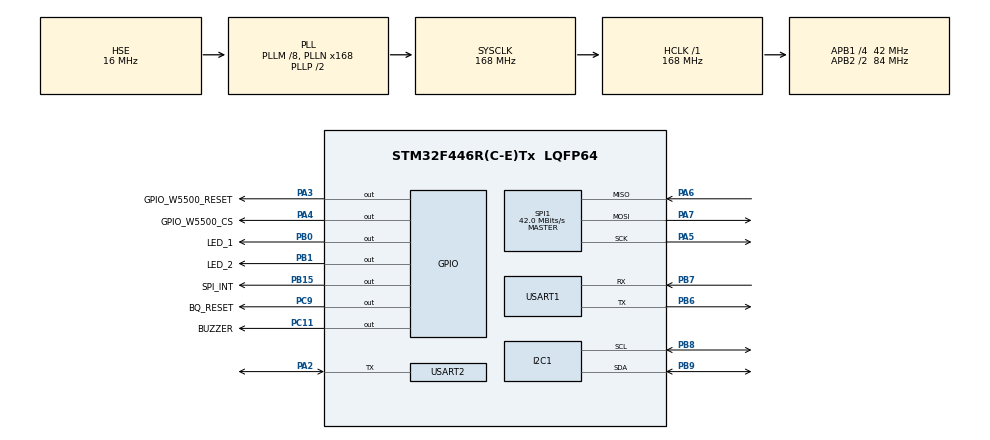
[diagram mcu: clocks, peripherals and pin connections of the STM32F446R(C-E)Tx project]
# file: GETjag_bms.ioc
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Dma.I2C1_RX.0.Direction=DMA_PERIPH_TO_MEMORY
Dma.I2C1_RX.0.FIFOMode=DMA_FIFOMODE_DISABLE
Dma.I2C1_RX.0.Instance=DMA1_Stream0
Dma.I2C1_RX.0.MemDataAlignment=DMA_MDATAALIGN_BYTE
Dma.I2C1_RX.0.MemInc=DMA_MINC_ENABLE
Dma.I2C1_RX.0.Mode=DMA_NORMAL
Dma.I2C1_RX.0.PeriphDataAlignment=DMA_PDATAALIGN_BYTE
Dma.I2C1_RX.0.PeriphInc=DMA_PINC_DISABLE
Dma.I2C1_RX.0.Priority=DMA_PRIORITY_LOW
Dma.I2C1_TX.1.Direction=DMA_MEMORY_TO_PERIPH
Dma.I2C1_TX.1.FIFOMode=DMA_FIFOMODE_DISABLE
Dma.I2C1_TX.1.Instance=DMA1_Stream6
Dma.I2C1_TX.1.MemDataAlignment=DMA_MDATAALIGN_BYTE
Dma.I2C1_TX.1.MemInc=DMA_MINC_ENABLE
Dma.I2C1_TX.1.Mode=DMA_NORMAL
Dma.I2C1_TX.1.PeriphDataAlignment=DMA_PDATAALIGN_BYTE
Dma.I2C1_TX.1.PeriphInc=DMA_PINC_DISABLE
Dma.I2C1_TX.1.Priority=DMA_PRIORITY_LOW
Dma.Request0=I2C1_RX
Dma.Request1=I2C1_TX
Mcu.Family=STM32F4
Mcu.Name=STM32F446R(C-E)Tx
Mcu.Package=LQFP64
NVIC.DMA1_Stream0_IRQn=true\:0\:0\:false\:false\:true\:false\:true\:true
NVIC.DMA1_Stream6_IRQn=true\:0\:0\:false\:false\:true\:false\:true\:true
NVIC.PriorityGroup=NVIC_PRIORITYGROUP_4
NVIC.TIM6_DAC_IRQn=true\:15\:0\:false\:false\:true\:false\:true\:true
NVIC.TimeBase=TIM6_DAC_IRQn
NVIC.TimeBaseIP=TIM6
PA13.Signal=SYS_JTMS-SWDIO
PA14.GPIO_Label=TCK
PA14.Signal=SYS_JTCK-SWCLK
PA2.Mode=Half_duplex(single_wire_mode)
PA2.Signal=USART2_TX
PA3.GPIO_Label=GPIO_W5500_RESET
PA3.Signal=GPIO_Output
PA4.GPIO_Label=GPIO_W5500_CS
PA4.Signal=GPIO_Output
PA5.Mode=Full_Duplex_Master
PA5.Signal=SPI1_SCK
PA6.Mode=Full_Duplex_Master
PA6.Signal=SPI1_MISO
PA7.Mode=Full_Duplex_Master
PA7.Signal=SPI1_MOSI
PB0.GPIO_Label=LED_1
PB0.Signal=GPIO_Output
PB1.GPIO_Label=LED_2
PB1.Signal=GPIO_Output
PB15.GPIO_Label=SPI_INT
PB15.Signal=GPIO_Output
PB6.Mode=Asynchronous
PB6.Signal=USART1_TX
PB7.Mode=Asynchronous
PB7.Signal=USART1_RX
PB8.Mode=I2C
PB8.Signal=I2C1_SCL
PB9.Mode=I2C
PB9.Signal=I2C1_SDA
PC11.GPIO_Label=BUZZER
PC11.GPIO_PuPd=GPIO_NOPULL
PC11.Signal=GPIO_Output
PC9.GPIO_Label=BQ_RESET
PC9.GPIO_PuPd=GPIO_PULLDOWN
PC9.Signal=GPIO_Output
PH0-OSC_IN.Mode=HSE-External-Oscillator
PH0-OSC_IN.Signal=RCC_OSC_IN
PH1-OSC_OUT.Mode=HSE-External-Oscillator
PH1-OSC_OUT.Signal=RCC_OSC_OUT
ProjectManager.HeapSize=0x200
ProjectManager.StackSize=0x400
ProjectManager.TargetToolchain=STM32CubeIDE
RCC.48MHZClocksFreq_Value=84000000
RCC.AHBFreq_Value=168000000
RCC.APB1CLKDivider=RCC_HCLK_DIV4
RCC.APB1Freq_Value=42000000
RCC.APB1TimFreq_Value=84000000
RCC.APB2CLKDivider=RCC_HCLK_DIV2
RCC.APB2Freq_Value=84000000
RCC.APB2TimFreq_Value=168000000
RCC.CortexFreq_Value=168000000
RCC.FLatency-AdvancedSettings=FLASH_LATENCY_5
RCC.HCLKFreq_Value=168000000
RCC.HSE_VALUE=16000000
RCC.HSI_VALUE=16000000
RCC.PLLM=8
RCC.PLLN=168
RCC.PLLSourceVirtual=RCC_PLLSOURCE_HSE
RCC.SYSCLKFreq_VALUE=168000000
RCC.SYSCLKSource=RCC_SYSCLKSOURCE_PLLCLK
RCC.USBFreq_Value=168000000
RCC.VCOOutputFreq_Value=336000000
SPI1.CalculateBaudRate=42.0 MBits/s
SPI1.Direction=SPI_DIRECTION_2LINES
SPI1.Mode=SPI_MODE_MASTER
SPI1.VirtualType=VM_MASTER
USART1.VirtualMode=VM_ASYNC
USART2.VirtualMode=VM_ASYNC
VP_SYS_VS_tim6.Mode=TIM6
VP_TIM10_VS_ClockSourceINT.Mode=Enable_Timer
board=NUCLEO-F446RE

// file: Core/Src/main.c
/* USER CODE BEGIN Header */
/**
 ******************************************************************************
 * @file           : main.c
 * @brief          : Main program body
 ******************************************************************************
 * @attention
 *
 * Copyright (c) 2024 STMicroelectronics.
 * All rights reserved.
 *
 * This software is licensed under terms that can be found in the LICENSE file
 * in the root directory of this software component.
 * If no LICENSE file comes with this software, it is provided AS-IS.
 *
 ******************************************************************************
 */
/* USER CODE END Header */
#include "main.h"

/* USER CODE BEGIN Includes */
// #include "delay.h"
#include "spi.h"
#include "modbus.h"
#include <stdio.h>
#include <stdlib.h>
#include <stdarg.h>
#include <string.h>
#include "socket.h"
#include "wizchip_conf.h"
#include "FreeRTOS.h"
#include "task.h"
#include "BQ769x2Header.h"
#include "utils.h"
#include "bq_common.h"
#include "soc_soh.h"
#include "semphr.h"
#include "stdbool.h"
/* USER CODE END Includes */

/* USER CODE BEGIN PTD */
typedef enum
{
  Bit_RESET = 0,
  Bit_SET
} BitAction;

typedef enum {
    STATE_WAIT_FOR_ETHERNET,
    STATE_INIT_SOCKET,
    STATE_WAIT_FOR_CLIENT,
    STATE_COMMUNICATE_WITH_CLIENT
} modbus_state_t;

/* USER CODE END PTD */

/* USER CODE BEGIN PD */
/* USER CODE BEGIN PD */

// #define PORT_TCPS 5000
#define DATA_BUF_SIZE 2048
uint8_t gDATABUF[DATA_BUF_SIZE];
#define SEPARATOR "=============================================\r\n"
#define WELCOME_MSG "Welcome to STM32Nucleo Ethernet configuration\r\n"
#define NETWORK_MSG "Network configuration:\r\n"
#define IP_MSG "  IP ADDRESS:  %d.%d.%d.%d\r\n"
#define NETMASK_MSG "  NETMASK:     %d.%d.%d.%d\r\n"
#define GW_MSG "  GATEWAY:     %d.%d.%d.%d\r\n"
#define MAC_MSG "  MAC ADDRESS: %x:%x:%x:%x:%x:%x\r\n"
#define GREETING_MSG "Well done guys! Welcome to the IoT world. Bye!\r\n"
#define CONN_ESTABLISHED_MSG "Connection established with remote IP: %d.%d.%d.%d:%d\r\n"
#define SENT_MESSAGE_MSG "Sent a message. Let's close the socket!\r\n"
#define WRONG_RETVAL_MSG "Something went wrong; return value: %d\r\n"
#define WRONG_STATUS_MSG "Something went wrong; STATUS: %d\r\n"
#define LISTEN_ERR_MSG "LISTEN Error!\r\n"

#define PRINT_STR(msg)                                            \
  do                                                              \
  {                                                               \
    HAL_UART_Transmit(&huart2, (uint8_t *)msg, strlen(msg), 100); \
  } while (0)

#define PRINT_HEADER()                                                            \
  do                                                                              \
  {                                                                               \
    HAL_UART_Transmit(&huart2, (uint8_t *)SEPARATOR, strlen(SEPARATOR), 100);     \
    HAL_UART_Transmit(&huart2, (uint8_t *)WELCOME_MSG, strlen(WELCOME_MSG), 100); \
    HAL_UART_Transmit(&huart2, (uint8_t *)SEPARATOR, strlen(SEPARATOR), 100);     \
  } while (0)

#define PRINT_NETINFO(netInfo)                                                                                             \
  do                                                                                                                       \
  {                                                                                                                        \
    HAL_UART_Transmit(&huart2, (uint8_t *)NETWORK_MSG, strlen(NETWORK_MSG), 100);                                          \
    sprintf(msg, MAC_MSG, netInfo.mac[0], netInfo.mac[1], netInfo.mac[2], netInfo.mac[3], netInfo.mac[4], netInfo.mac[5]); \
    HAL_UART_Transmit(&huart2, (uint8_t *)msg, strlen(msg), 100);                                                          \
    sprintf(msg, IP_MSG, netInfo.ip[0], netInfo.ip[1], netInfo.ip[2], netInfo.ip[3]);                                      \
    HAL_UART_Transmit(&huart2, (uint8_t *)msg, strlen(msg), 100);                                                          \
    sprintf(msg, NETMASK_MSG, netInfo.sn[0], netInfo.sn[1], netInfo.sn[2], netInfo.sn[3]);                                 \
    HAL_UART_Transmit(&huart2, (uint8_t *)msg, strlen(msg), 100);                                                          \
    sprintf(msg, GW_MSG, netInfo.gw[0], netInfo.gw[1], netInfo.gw[2], netInfo.gw[3]);                                      \
    HAL_UART_Transmit(&huart2, (uint8_t *)msg, strlen(msg), 100);                                                          \
  } while (0)

char msg[60];

#define LISTEN_PORT 502
#define RECEIVE_BUFF_SIZE 128

#define EEPROM_I2C_ADDRESS 0xA0
#define EEPROM_MEM_ADDRESS_SIZE I2C_MEMADD_SIZE_16BIT

// Enable cycle count for STM32
#define DWT_CTRL (*(volatile uint32_t *)0xE0001000)

/* USER CODE END PD */

I2C_HandleTypeDef hi2c1;
DMA_HandleTypeDef hdma_i2c1_rx;
DMA_HandleTypeDef hdma_i2c1_tx;

SPI_HandleTypeDef hspi1;

TIM_HandleTypeDef htim10;

UART_HandleTypeDef huart1;
UART_HandleTypeDef huart2;

/* USER CODE BEGIN PV */
int16_t statusClient;
uint8_t statusSlave;
uint8_t tcp_error = 0;
uint8_t rtu_error = 0;
uint8_t TX_buffer[128];
uint8_t send_size;
uint8_t RX_buffer[128];
uint8_t recv_size;
uint16_t cntSend = 0;

uint8_t FrameNrBytes = 0;
bool soc_ready = false;

bms_context bms1;
CellSelectRegister selected_cells = {.value = 0x801F}; // Assuming 6 cells are selected
//CellSelectRegister selected_cells = {.value = 0xFFFF};
Soc_coulomb_counting soc_coulomb_count_init;

// Set I.P address of slave

wiz_NetInfo gWIZNETINFO = {
    .mac = {0x00, 0x08, 0xdc, 0xab, 0xcd, 0xef},
    .ip = {192, 168, 137, 14},
    .sn = {255, 255, 255, 0},
    .gw = {192, 168, 3, 1},
    .dns = {8, 8, 8, 8},
    .dhcp = NETINFO_STATIC};
uint8_t RX_buffer[RX_buffer_length];

uint16_t holding_register[64] = {
    0x00, 0x00, 0x00, 0x00, 0x00, 0x00, 0x00, 0x00,
    0x00, 0x00, 0x00, 0x00, 0x00, 0x00, 0x00, 0x00,
    0x00, 0x00, 0x00, 0x00, 0x00, 0x00, 0x00, 0x00,
    0x00, 0x00, 0x00, 0x00, 0x00, 0x00, 0x00, 0x00,
    0x00, 0x00, 0x00, 0x00, 0x00, 0x00, 0x00, 0x00,
    0x00, 0x00, 0x00, 0x00, 0x00, 0x00, 0x00, 0x00,
    0x00, 0x00, 0x00, 0x00, 0x00, 0x00, 0x00, 0x00,
    0x00, 0x00, 0x00, 0x00, 0x00, 0x00, 0x00, 0x00};

float ocv_simple[11] = {4.16, 4.07, 3.99, 3.90, 3.82, 3.72, 3.61, 3.53, 3.38, 3.20, 2.85};
float soc_simple[11] = {100.0, 90.0, 80.0, 70.0, 60.0, 50.0, 40.0, 30.0, 20.0, 10.0, 0.0};

TaskHandle_t modbus_task_handle = NULL;
TaskHandle_t soc_task_handle = NULL;
TaskHandle_t read_voltage_task_handle = NULL;
TaskHandle_t bms_state_machine_handle = NULL;
BaseType_t status;

uint8_t sr = 0x00;

SemaphoreHandle_t data_ready_semaphore;
SemaphoreHandle_t soc_ready_semaphore;

/* USER CODE END PV */

void SystemClock_Config(void);
static void MX_GPIO_Init(void);
static void MX_DMA_Init(void);
static void MX_USART1_UART_Init(void);
static void MX_SPI1_Init(void);
static void MX_USART2_UART_Init(void);
static void MX_I2C1_Init(void);
static void MX_TIM10_Init(void);
/* USER CODE BEGIN PFP */

void wizchip_select(void);
void wizchip_deselect(void);
void wizchip_write(uint8_t wb);
uint8_t wizchip_read();

// Initialize Network information and display it
void network_init(void);
ErrorState PHYStatusCheck(void);
void PrintPHYConf(void);
void DelayIncCnt(void);

static void modbus_comm_task(void *parameters);
static void soc_task(void *parameters);
static void read_voltage_task(void *parameters);
static void bms_state_machine_task(void *parameters);

void delayUS(uint32_t us)
{                                    // Sets the delay in microseconds.
  __HAL_TIM_SET_COUNTER(&htim10, 0); // set the counter value a 0
  while (__HAL_TIM_GET_COUNTER(&htim10) < us)
    ; // wait for the counter to reach the us input in the parameter
}

/* USER CODE END PFP */

int main(void)
{

  /* USER CODE BEGIN 1 */
  uint8_t memsize[2][8] = {{2, 2, 2, 2, 2, 2, 2, 2}, {2, 2, 2, 2, 2, 2, 2, 2}};

  /* USER CODE END 1 */

  /* MCU Configuration--------------------------------------------------------*/

  /* Reset of all peripherals, Initializes the Flash interface and the Systick. */
  HAL_Init();

  /* Configure the system clock */
  SystemClock_Config();

  /* Initialize all configured peripherals */
  MX_GPIO_Init();
  MX_DMA_Init();
  MX_USART1_UART_Init();
  MX_SPI1_Init();
  MX_USART2_UART_Init();
  MX_I2C1_Init();
  MX_TIM10_Init();
  /* USER CODE BEGIN 2 */

  // Enable cycle count for STM32

  DWT_CTRL |= (1 << 0);
  SEGGER_SYSVIEW_Conf();
  SEGGER_SYSVIEW_Start();

  // Reset wiznet module
  HAL_GPIO_WritePin(GPIO_W5500_RESET_GPIO_Port, GPIO_W5500_RESET_Pin, GPIO_PIN_RESET);
  HAL_Delay(100);
  HAL_GPIO_WritePin(GPIO_W5500_RESET_GPIO_Port, GPIO_W5500_RESET_Pin, GPIO_PIN_SET);
  HAL_Delay(1000);

  /* SPI Read & Write callback function */
  reg_wizchip_cs_cbfunc(wizchip_select, wizchip_deselect);
  reg_wizchip_spi_cbfunc(wizchip_read, wizchip_write);

  ////////////////////////////////////////////////////////////////////////
  /* WIZCHIP SOCKET Buffer initialize */
  if (ctlwizchip(CW_INIT_WIZCHIP, (void *)memsize) == -1)
  {

    while (1)
      ;
  }

  /* Network initialization */
  network_init();
  wizchip_setnetinfo(&gWIZNETINFO);
  // PRINT_NETINFO(gWIZNETINFO);

  ctlnetwork(CN_SET_NETINFO, (void *)&gWIZNETINFO);

  // Configure PHY by software for maximum compatibility
  // so that user can use any model w5500 board
  // else the PINs on the board configure it, which may
  // lead to different configurations in different boards.
  wiz_PhyConf phyconf;

  phyconf.by = PHY_CONFBY_SW;
  phyconf.duplex = PHY_DUPLEX_FULL;
  phyconf.speed = PHY_SPEED_10;     // 10MBps Ethernet link speed
  phyconf.mode = PHY_MODE_AUTONEGO; // best to go with auto-negotiation

  ctlwizchip(CW_SET_PHYCONF, (void *)&phyconf); // PHY Configuration Command
  //*** End Phy Configuration
  // Init Timer
  HAL_TIM_Base_Start(&htim10);
  delayUS(10000);

  // init bms

  bms1.battery_full = 1;
  bms1.charge_enable = 1;
  bms1.discharge_enable = 1;

  // BQ hard and soft reset
  HAL_GPIO_WritePin(BQ_RESET_GPIO_Port, BQ_RESET_Pin, GPIO_PIN_SET);
  HAL_Delay(10);
  HAL_GPIO_WritePin(BQ_RESET_GPIO_Port, BQ_RESET_Pin, GPIO_PIN_RESET);
  HAL_Delay(2000);
  CommandSubcommands(BQ769x2_RESET); // Resets the BQ769x2 registers
  HAL_Delay(1200);
  BQ769x2_Init(); // Configure all of the BQ769x2 register settings
  delayUS(10000);
  CommandSubcommands(SLEEP_DISABLE); // Sleep mode is enabled by default. For this example, Sleep is disabled to
                                     // demonstrate full-speed measurements in Normal mode.

  delayUS(60000);
  delayUS(60000);
  delayUS(60000);
  delayUS(60000);

  uint16_t manuStatus = BQ769x2_ReadRegister(MANUFACTURINGSTATUS);
  uint16_t manuInit = BQ769x2_ReadRegister(MfgStatusInit);
  uint16_t manuData = BQ769x2_ReadRegister(MANU_DATA);
  uint16_t FET_options = BQ769x2_ReadRegister(FETOptions);

  AlarmBits = BQ769x2_ReadAlarmStatus();
  // CommandSubcommands(RESET_PASSQ);
  //CommandSubcommands(ALL_FETS_ON);
  data_ready_semaphore = xSemaphoreCreateBinary();
  data_ready_semaphore = xSemaphoreCreateBinary();

  status = xTaskCreate(modbus_comm_task, "modbus_comm_task", 200, NULL, 2, &modbus_task_handle);
  configASSERT(status == pdPASS);

  status = xTaskCreate(soc_task, "soc_handle", 200, NULL, 3, &soc_task_handle);
  configASSERT(status == pdPASS);

  status = xTaskCreate(read_voltage_task, "read_voltage_task", 200, NULL, 2, &read_voltage_task_handle);
  configASSERT(status == pdPASS);

  status = xTaskCreate(bms_state_machine_task, "bms_state machine_task", 200, (void *)&bms1, 3, &bms_state_machine_handle);
  configASSERT(status == pdPASS);

  vTaskStartScheduler();

  /* USER CODE END 2 */

  /* Infinite loop */
  while (1)
  {

  }
}

void SystemClock_Config(void)
{
  RCC_OscInitTypeDef RCC_OscInitStruct = {0};
  RCC_ClkInitTypeDef RCC_ClkInitStruct = {0};

  /** Configure the main internal regulator output voltage
  */
  __HAL_RCC_PWR_CLK_ENABLE();
  __HAL_PWR_VOLTAGESCALING_CONFIG(PWR_REGULATOR_VOLTAGE_SCALE1);

  /** Initializes the RCC Oscillators according to the specified parameters
  * in the RCC_OscInitTypeDef structure.
  */
  RCC_OscInitStruct.OscillatorType = RCC_OSCILLATORTYPE_HSE;
  RCC_OscInitStruct.HSEState = RCC_HSE_ON;
  RCC_OscInitStruct.PLL.PLLState = RCC_PLL_ON;
  RCC_OscInitStruct.PLL.PLLSource = RCC_PLLSOURCE_HSE;
  RCC_OscInitStruct.PLL.PLLM = 8;
  RCC_OscInitStruct.PLL.PLLN = 168;
  RCC_OscInitStruct.PLL.PLLP = RCC_PLLP_DIV2;
  RCC_OscInitStruct.PLL.PLLQ = 2;
  RCC_OscInitStruct.PLL.PLLR = 2;
  if (HAL_RCC_OscConfig(&RCC_OscInitStruct) != HAL_OK)
  {
    Error_Handler();
  }

  /** Initializes the CPU, AHB and APB buses clocks
  */
  RCC_ClkInitStruct.ClockType = RCC_CLOCKTYPE_HCLK|RCC_CLOCKTYPE_SYSCLK
                              |RCC_CLOCKTYPE_PCLK1|RCC_CLOCKTYPE_PCLK2;
  RCC_ClkInitStruct.SYSCLKSource = RCC_SYSCLKSOURCE_PLLCLK;
  RCC_ClkInitStruct.AHBCLKDivider = RCC_SYSCLK_DIV1;
  RCC_ClkInitStruct.APB1CLKDivider = RCC_HCLK_DIV4;
  RCC_ClkInitStruct.APB2CLKDivider = RCC_HCLK_DIV2;

  if (HAL_RCC_ClockConfig(&RCC_ClkInitStruct, FLASH_LATENCY_5) != HAL_OK)
  {
    Error_Handler();
  }
}

static void MX_I2C1_Init(void)
{

  hi2c1.Instance = I2C1;
  hi2c1.Init.ClockSpeed = 100000;
  hi2c1.Init.DutyCycle = I2C_DUTYCYCLE_2;
  hi2c1.Init.OwnAddress1 = 0;
  hi2c1.Init.AddressingMode = I2C_ADDRESSINGMODE_7BIT;
  hi2c1.Init.DualAddressMode = I2C_DUALADDRESS_DISABLE;
  hi2c1.Init.OwnAddress2 = 0;
  hi2c1.Init.GeneralCallMode = I2C_GENERALCALL_DISABLE;
  hi2c1.Init.NoStretchMode = I2C_NOSTRETCH_DISABLE;
  if (HAL_I2C_Init(&hi2c1) != HAL_OK)
  {
    Error_Handler();
  }

}

static void MX_SPI1_Init(void)
{

  /* SPI1 parameter configuration*/
  hspi1.Instance = SPI1;
  hspi1.Init.Mode = SPI_MODE_MASTER;
  hspi1.Init.Direction = SPI_DIRECTION_2LINES;
  hspi1.Init.DataSize = SPI_DATASIZE_8BIT;
  hspi1.Init.CLKPolarity = SPI_POLARITY_LOW;
  hspi1.Init.CLKPhase = SPI_PHASE_1EDGE;
  hspi1.Init.NSS = SPI_NSS_SOFT;
  hspi1.Init.BaudRatePrescaler = SPI_BAUDRATEPRESCALER_2;
  hspi1.Init.FirstBit = SPI_FIRSTBIT_MSB;
  hspi1.Init.TIMode = SPI_TIMODE_DISABLE;
  hspi1.Init.CRCCalculation = SPI_CRCCALCULATION_DISABLE;
  hspi1.Init.CRCPolynomial = 10;
  if (HAL_SPI_Init(&hspi1) != HAL_OK)
  {
    Error_Handler();
  }

}

static void MX_TIM10_Init(void)
{

  htim10.Instance = TIM10;
  htim10.Init.Prescaler = 0;
  htim10.Init.CounterMode = TIM_COUNTERMODE_UP;
  htim10.Init.Period = 65535;
  htim10.Init.ClockDivision = TIM_CLOCKDIVISION_DIV1;
  htim10.Init.AutoReloadPreload = TIM_AUTORELOAD_PRELOAD_DISABLE;
  if (HAL_TIM_Base_Init(&htim10) != HAL_OK)
  {
    Error_Handler();
  }

}

static void MX_USART1_UART_Init(void)
{

  huart1.Instance = USART1;
  huart1.Init.BaudRate = 115200;
  huart1.Init.WordLength = UART_WORDLENGTH_8B;
  huart1.Init.StopBits = UART_STOPBITS_1;
  huart1.Init.Parity = UART_PARITY_NONE;
  huart1.Init.Mode = UART_MODE_TX_RX;
  huart1.Init.HwFlowCtl = UART_HWCONTROL_NONE;
  huart1.Init.OverSampling = UART_OVERSAMPLING_16;
  if (HAL_UART_Init(&huart1) != HAL_OK)
  {
    Error_Handler();
  }

}

static void MX_USART2_UART_Init(void)
{

  huart2.Instance = USART2;
  huart2.Init.BaudRate = 115200;
  huart2.Init.WordLength = UART_WORDLENGTH_8B;
  huart2.Init.StopBits = UART_STOPBITS_1;
  huart2.Init.Parity = UART_PARITY_NONE;
  huart2.Init.Mode = UART_MODE_TX_RX;
  huart2.Init.HwFlowCtl = UART_HWCONTROL_NONE;
  huart2.Init.OverSampling = UART_OVERSAMPLING_16;
  if (HAL_HalfDuplex_Init(&huart2) != HAL_OK)
  {
    Error_Handler();
  }

}

static void MX_DMA_Init(void)
{

  /* DMA controller clock enable */
  __HAL_RCC_DMA1_CLK_ENABLE();

  /* DMA interrupt init */
  /* DMA1_Stream0_IRQn interrupt configuration */
  HAL_NVIC_SetPriority(DMA1_Stream0_IRQn, 0, 0);
  HAL_NVIC_EnableIRQ(DMA1_Stream0_IRQn);
  /* DMA1_Stream6_IRQn interrupt configuration */
  HAL_NVIC_SetPriority(DMA1_Stream6_IRQn, 0, 0);
  HAL_NVIC_EnableIRQ(DMA1_Stream6_IRQn);

}

static void MX_GPIO_Init(void)
{
  GPIO_InitTypeDef GPIO_InitStruct = {0};

  /* GPIO Ports Clock Enable */
  __HAL_RCC_GPIOH_CLK_ENABLE();
  __HAL_RCC_GPIOA_CLK_ENABLE();
  __HAL_RCC_GPIOB_CLK_ENABLE();
  __HAL_RCC_GPIOC_CLK_ENABLE();

  /*Configure GPIO pin Output Level */
  HAL_GPIO_WritePin(GPIOA, GPIO_W5500_RESET_Pin|GPIO_W5500_CS_Pin, GPIO_PIN_RESET);

  /*Configure GPIO pin Output Level */
  HAL_GPIO_WritePin(GPIOB, LED_1_Pin|LED_2_Pin|SPI_INT_Pin, GPIO_PIN_RESET);

  /*Configure GPIO pin Output Level */
  HAL_GPIO_WritePin(GPIOC, BQ_RESET_Pin|BUZZER_Pin, GPIO_PIN_RESET);

  /*Configure GPIO pins : GPIO_W5500_RESET_Pin GPIO_W5500_CS_Pin */
  GPIO_InitStruct.Pin = GPIO_W5500_RESET_Pin|GPIO_W5500_CS_Pin;
  GPIO_InitStruct.Mode = GPIO_MODE_OUTPUT_PP;
  GPIO_InitStruct.Pull = GPIO_NOPULL;
  GPIO_InitStruct.Speed = GPIO_SPEED_FREQ_LOW;
  HAL_GPIO_Init(GPIOA, &GPIO_InitStruct);

  /*Configure GPIO pins : LED_1_Pin LED_2_Pin SPI_INT_Pin */
  GPIO_InitStruct.Pin = LED_1_Pin|LED_2_Pin|SPI_INT_Pin;
  GPIO_InitStruct.Mode = GPIO_MODE_OUTPUT_PP;
  GPIO_InitStruct.Pull = GPIO_NOPULL;
  GPIO_InitStruct.Speed = GPIO_SPEED_FREQ_LOW;
  HAL_GPIO_Init(GPIOB, &GPIO_InitStruct);

  /*Configure GPIO pin : BQ_RESET_Pin */
  GPIO_InitStruct.Pin = BQ_RESET_Pin;
  GPIO_InitStruct.Mode = GPIO_MODE_OUTPUT_PP;
  GPIO_InitStruct.Pull = GPIO_PULLDOWN;
  GPIO_InitStruct.Speed = GPIO_SPEED_FREQ_LOW;
  HAL_GPIO_Init(BQ_RESET_GPIO_Port, &GPIO_InitStruct);

  /*Configure GPIO pin : BUZZER_Pin */
  GPIO_InitStruct.Pin = BUZZER_Pin;
  GPIO_InitStruct.Mode = GPIO_MODE_OUTPUT_PP;
  GPIO_InitStruct.Pull = GPIO_NOPULL;
  GPIO_InitStruct.Speed = GPIO_SPEED_FREQ_LOW;
  HAL_GPIO_Init(BUZZER_GPIO_Port, &GPIO_InitStruct);

}

/* USER CODE BEGIN 4 */

void modbus_comm_task(void *parameters)
{
  bool start_modbus = false;

  PRINT_STR("MODBUS WHILE LOOP\r\n");

  // Keep checking for Ethernet connection before starting Modbus communication
  while (!start_modbus)
  {
    if (PHYStatusCheck() == Ethernet_OK)
    {
      PrintPHYConf();      // Print Ethernet PHY configuration
      start_modbus = true; // Set flag to true to start Modbus communication
    }
    else
    {
      // Wait for a short time before checking again to prevent busy-waiting
      printf("Waiting for Ethernet connection...\r\n");
      vTaskDelay(pdMS_TO_TICKS(1000)); // Delay 1 second before rechecking
    }
  }

  // Now start Modbus communication since Ethernet is connected
  while (start_modbus)
  {
    HAL_GPIO_TogglePin(LED_1_GPIO_Port, LED_1_Pin);
    printf("\r\nInitializing server socket\r\n");
    vTaskDelay(pdMS_TO_TICKS(500));

    // Parameters in order: socket_id, protocol TCP or UDP, Port number, Flags=0
    // Return value is socket ID on success
    if (socket(1, Sn_MR_TCP, LISTEN_PORT, 0) != 1)
    {
      // Error
      printf("Cannot create Socket!\r\n");
      vTaskDelay(pdMS_TO_TICKS(500)); // Delay before retrying
      continue;                       // Retry initialization
    }

    // Success
    printf("Socket Created Successfully!\r\n");

    uint8_t socket_io_mode = SOCK_IO_BLOCK;
    ctlsocket(1, CS_SET_IOMODE, &socket_io_mode); // Set blocking IO mode

    printf("Start listening on port %d!\r\n", LISTEN_PORT);
    printf("Waiting for a client connection.\r\n");

    // Make it a passive socket (i.e., listen for connection)
    if (listen(1) != SOCK_OK) // Our socket ID is 1 (W5500 has 8 sockets from 0-7)
    {
      // Error
      printf("Cannot listen on port %d", LISTEN_PORT);
      vTaskDelay(pdMS_TO_TICKS(1000)); // Delay before retrying
      continue;                        // Retry initialization
    }

    uint8_t sr = 0x00;                                               // Socket status register
    TickType_t xTimeOut = xTaskGetTickCount() + pdMS_TO_TICKS(5000); // 5-second timeout

    // Wait for a client connection with timeout
    do
    {
      sr = getSn_SR(1);               // Read status reg (SR of socket 1)
      vTaskDelay(pdMS_TO_TICKS(100)); // Allow other tasks to run
    } while (sr != 0x17 && sr != 0x00 && xTaskGetTickCount() < xTimeOut);

    if (sr == 0x00)
    {
      printf("Some error occurred on server socket. Retrying...\r\n");
      vTaskDelay(pdMS_TO_TICKS(1000)); // Delay before retrying
      continue;                        // Retry initialization
    }

    if (sr == 0x17)
    {
      // We come here only when a client has connected.
      // Now we can read data from the socket
      printf("A client connected!\r\n");
      printf("Waiting for Client Data...!\r\n");

      while (1)
      {
        int len = recv(1, RX_buffer, RX_buffer_length);
        if (len == SOCKERR_SOCKSTATUS)
        {
          // Client has disconnected
          printf("Client has disconnected\r\n");
          printf("*** SESSION OVER ***\r\n\r\n");
          break; // Exit client communication loop
        }

        RX_buffer[len] = '\0';
        printf("Received %d bytes from client\r\n", len);
        printf("Data Received: %s", RX_buffer);

        memset(TX_buffer, 0, sizeof(TX_buffer));

        if (xSemaphoreTake(data_ready_semaphore, portMAX_DELAY) == pdTRUE)
        {
        	modbus_receive(RX_buffer, TX_buffer, len, holding_register);
        }

        vTaskDelay(pdMS_TO_TICKS(500));

        printf("\r\nECHO sent back to client\r\n");

        // Look for quit message and quit if received
        if (strcmp((char *)RX_buffer, "QUIT") == 0)
        {
          printf("Received QUIT command from client\r\n");
          printf("Disconnecting...\r\n");
          printf("*** SESSION OVER ***\r\n\r\n");
          disconnect(1); // Disconnect from the client
          break;         // Exit client communication loop
        }

        vTaskDelay(pdMS_TO_TICKS(500)); // Allow other tasks to run
      } // While loop (as long as client is connected)
    } // If block, client connect success
  } // Outer while loop
}

static void soc_task(void *parameters)
{
	bool start_soc = false;
	if (xSemaphoreTake(data_ready_semaphore, portMAX_DELAY) == pdTRUE)
	{
		BQ769x2_ReadAllVoltages(&bms1);
		get_initial_soc();
		CommandSubcommands(RESET_PASSQ);
		start_soc = true;
	}

  while (start_soc)
  {
	soc_ready = false;
    PRINT_STR("TASK2 WHILE LOOP\r\n");
    uint16_t soc = soc_k_update_get(coulumbs);
    holding_register[21] = soc;
    holding_register[22] = coulumbs;
    BQ769x2_ReadPassQ();
    //xSemaphoreGive(soc_ready_semaphore);
    HAL_GPIO_TogglePin(LED_2_GPIO_Port, LED_2_Pin);
    vTaskDelay(pdMS_TO_TICKS(100));
    // HAL_Delay(500);

    // taskYIELD();
  }
}

static void bms_state_machine_task(void *parameters)

{
  bms_context *bms = (bms_context *)parameters;
  bms->bms_state = BMS_STATE_OFF;
  while (1)
  {
    bms_state_machine(&bms1);
    uint16_t current = BQ769x2_ReadCurrent();
    vTaskDelay(pdMS_TO_TICKS(100));
    // taskYIELD();
  }
}

static void read_voltage_task(void *parameters)
{

	uint16_t counter = 0;
  while (1)
  {

    BQ769x2_ReadAllVoltages(&bms1);
    uint16_t stackVoltage = BQ769x2_ReadVoltage(StackVoltage, &bms1);
    //    holding_register[0] = CellVoltage[0];
    //    holding_register[1] = CellVoltage[1];
    // HAL_Delay(5000);
    // uint16_t alarm;
    // alarm = BQ769x2_ReadAlarmStatus();
    AlarmBits = BQ769x2_ReadAlarmStatus();
        if (AlarmBits & 0x80)
        { // Check if FULLSCAN is complete. If set, new measurements are available
          counter += 1;
        	BQ769x2_ReadAllVoltages(&bms1);
          // float coulombs = BQ769x2_ReadPassQ();
          Pack_Current = BQ769x2_ReadCurrent();
          Temperature[0] = BQ769x2_ReadTemperature(TS1Temperature);
          Temperature[1] = BQ769x2_ReadTemperature(TS3Temperature);

          holding_register[0] = voltage_to_percentage(CellVoltage[0]);
          holding_register[1] = voltage_to_percentage(CellVoltage[1]);
          holding_register[2] = voltage_to_percentage(CellVoltage[2]);
          holding_register[3] = voltage_to_percentage(CellVoltage[3]);
          holding_register[4] = voltage_to_percentage(CellVoltage[4]);
          holding_register[5] = voltage_to_percentage(CellVoltage[5]);
          holding_register[6] = voltage_to_percentage(CellVoltage[6]);
          holding_register[7] = voltage_to_percentage(CellVoltage[7]);
          holding_register[8] = voltage_to_percentage(CellVoltage[15]);

          holding_register[9] = (CellVoltage[0]);
          holding_register[10] = (CellVoltage[1]);
          holding_register[11] = (CellVoltage[2]);
          holding_register[12] = (CellVoltage[3]);
          holding_register[13] = (CellVoltage[4]);
          holding_register[14] = (CellVoltage[5]);
          holding_register[15] = (CellVoltage[6]);
          holding_register[16] = (CellVoltage[7]);
          holding_register[17] = (CellVoltage[15]);

          holding_register[18] = stackVoltage;
          holding_register[19] = BQ769x2_ReadCurrent();
          uint16_t current = BQ769x2_ReadCurrent();
          holding_register[20] = BQ769x2_ReadVoltage(PACKPinVoltage, &bms1);

          DirectCommands(AlarmStatus, 0x0080, W); // Clear the FULLSCAN bit
                                                  //	  			HAL_GPIO_TogglePin(LED_2_GPIO_Port, LED_2_Pin);

          //	  				  HAL_Delay(100);

          if(counter > 2){
        	  xSemaphoreGive(data_ready_semaphore);
          }

        }
    vTaskDelay(pdMS_TO_TICKS(1000));
  }
}
void HAL_SYSTICK_Callback()
{
  DelayIncCnt();
}

uint8_t W5500_rxtx(uint8_t data)
{
  uint8_t rxdata;

  HAL_SPI_TransmitReceive(&hspi1, &data, &rxdata, 1, 50);

  return (rxdata);
}

void wizchip_select(void)
{
  W5500_select();
}

void wizchip_deselect(void)
{
  W5500_release();
}

void wizchip_write(uint8_t wb)
{
  W5500_tx(wb);
}

uint8_t wizchip_read()
{
  return W5500_rx();
}

//////////////////////////////////////////////////////////////////////////

/////////////////////////////////////////////////////////////
// Intialize the network information to be used in WIZCHIP //
/////////////////////////////////////////////////////////////
void network_init(void)
{
  uint8_t tmpstr[6];

  ctlnetwork(CN_SET_NETINFO, (void *)&gWIZNETINFO);

  ctlwizchip(CW_GET_ID, (void *)tmpstr);
}

void UWriteData(const char data)
{
  while (__HAL_UART_GET_FLAG(&huart1, UART_FLAG_TXE) == RESET)
    ;

  huart1.Instance->DR = data;
}

int __io_putchar(int ch)
{
  UWriteData(ch);
  return ch;
}

ErrorState PHYStatusCheck(void)
{
  uint8_t tmp;

  do
  {
    printf("\r\nChecking Ethernet Cable Presence ...");
    ctlwizchip(CW_GET_PHYLINK, (void *)&tmp);

    if (tmp == PHY_LINK_OFF)
    {
      printf("NO Cable Connected!");

      HAL_GPIO_WritePin(LED_2_GPIO_Port, LED_2_Pin, 1);
      HAL_Delay(500);
      // HAL_GPIO_TogglePin(BUZZER_GPIO_Port, BUZZER_Pin);
      // HAL_Delay(200);
    }
  } while (tmp == PHY_LINK_OFF);

  printf("Good! Cable got connected!");

  return Ethernet_OK;
}

void PrintPHYConf(void)
{
  wiz_PhyConf phyconf;

  ctlwizchip(CW_GET_PHYCONF, (void *)&phyconf);

  if (phyconf.by == PHY_CONFBY_HW)
  {
    printf("\r\nPHY Configured by Hardware Pins");
  }
  else
  {
    printf("\r\nPHY Configured by Registers");
  }

  if (phyconf.mode == PHY_MODE_AUTONEGO)
  {
    printf("\r\nAutonegotiation Enabled");
  }
  else
  {
    printf("\r\nAutonegotiation NOT Enabled");
  }

  if (phyconf.duplex == PHY_DUPLEX_FULL)
  {
    printf("\r\nDuplex Mode: Full");
  }
  else
  {
    printf("\r\nDuplex Mode: Half");
  }

  if (phyconf.speed == PHY_SPEED_10)
  {
    printf("\r\nSpeed: 10Mbps");
  }
  else
  {
    printf("\r\nSpeed: 100Mbps");
  }
}

// Error codes and messages:
// sn   -  Success: The socket number 'sn' passed as a parameter
// 1    -  SOCK_OK
// -1   -  SOCKERR_SOCKNUM  - Invalid socket number
// -5   -  SOCKERR_SOCKMODE - Invalid operation in the socket
// -13  -  SOCKERR_TIMEOUT  - Timeout occurred
// -7   -  SOCKERR_SOCKSTATUS - Invalid socket status for socket operation
// -14  -  SOCKERR_DATALEN    - Zero data length
// -12  -  SOCKERR_IPINVALID   - Wrong server IP address
// -11  -  SOCKERR_PORTZERO    - Server port zero
// -4   -  SOCKERR_SOCKCLOSED  - Socket unexpectedly closed
// -6   -  SOCKERR_SOCKFLAG    - Invalid socket flag
// -1000 -  SOCK_FATAL  - Result is a fatal error about socket process.
// 0    -  SOCK_BUSY         - Socket is busy
// 200  -  SUCCESS_RECEIVE

/* USER CODE END 4 */

void HAL_TIM_PeriodElapsedCallback(TIM_HandleTypeDef *htim)
{
  if (htim->Instance == TIM6) {
    HAL_IncTick();
  }
}

void Error_Handler(void)
{
  __disable_irq();
  while (1)
  {
  }
}
